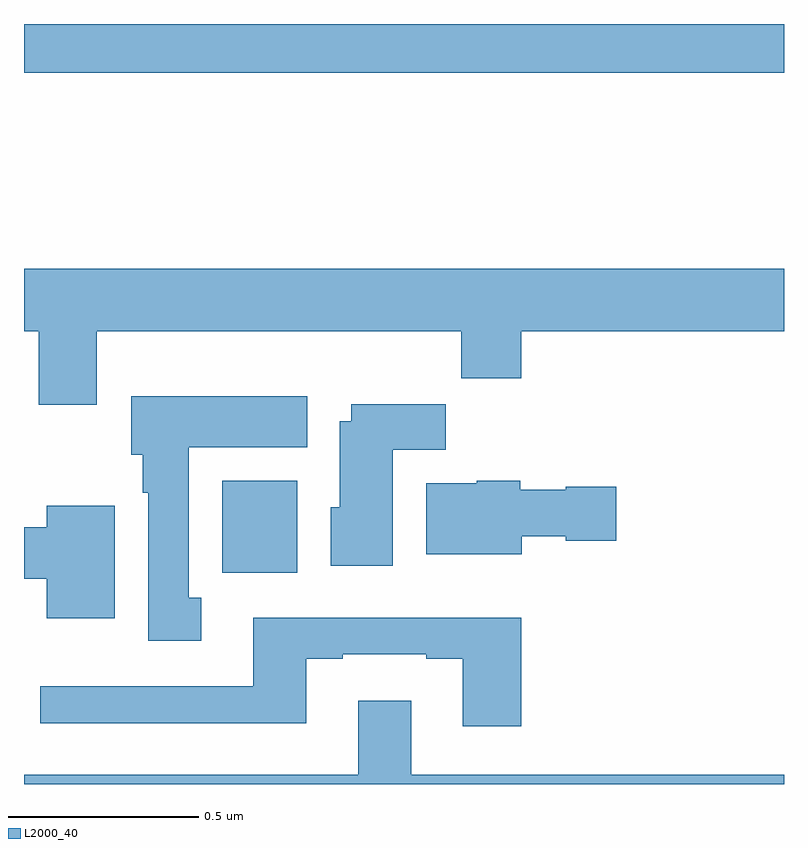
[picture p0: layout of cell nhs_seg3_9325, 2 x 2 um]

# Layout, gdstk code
import gdstk
lib = gdstk.Library(unit=1e-6, precision=1e-09)
def R(c, l, rs):  # rectangles x0, y0, x1, y1
    for r in rs: c.add(gdstk.rectangle(r[:2], r[2:], *l))
def P(c, l, *ps):  # polygons
    for p in ps: c.add(gdstk.Polygon(p, *l))
L2000_40 = (2000, 40)

nhs_seg3_9325 = lib.new_cell('nhs_seg3_9325')
R(nhs_seg3_9325, L2000_40, [(227.522,690.956,227.719,691.198), (227,692.272,229,692.4)])
P(nhs_seg3_9325, L2000_40, [(227.191,691.592),(228.151,691.592),(228.151,691.468),(228.308,691.468),(228.308,691.592),(229,691.592),(229,691.756),(227,691.756),(227,691.592),(227.039,691.592),(227.039,691.398),(227.191,691.398)],
  [(227.467,690.89),(227.434,690.89),(227.434,691.286),(227.746,691.286),(227.746,691.42),(227.282,691.42),(227.282,691.266),(227.312,691.266),(227.312,691.166),(227.327,691.166),(227.327,690.777),(227.467,690.777)],
  [(227.971,691.28),(228.11,691.28),(228.11,691.399),(227.861,691.399),(227.861,691.354),(227.831,691.354),(227.831,691.128),(227.807,691.128),(227.807,690.974),(227.971,690.974)],
  [(228.31,691.052),(228.426,691.052),(228.426,691.04),(228.559,691.04),(228.559,691.182),(228.426,691.182),(228.426,691.174),(228.306,691.174),(228.306,691.198),(228.192,691.198),(228.192,691.192),(228.059,691.192),(228.059,691.004),(228.31,691.004)],
  [(227.239,691.132),(227.06,691.132),(227.06,691.076),(227,691.076),(227,690.94),(227.06,690.94),(227.06,690.836),(227.239,690.836)],
  [(228.308,690.838),(227.603,690.838),(227.603,690.657),(227.043,690.657),(227.043,690.56),(227.743,690.56),(227.743,690.729),(227.839,690.729),(227.839,690.741),(228.059,690.741),(228.059,690.729),(228.155,690.729),(228.155,690.552),(228.308,690.552)],
  [(229,690.424),(228.019,690.424),(228.019,690.619),(227.879,690.619),(227.879,690.424),(227,690.424),(227,690.4),(229,690.4)])

lib.write_gds('nhs_seg3_9325.gds')
